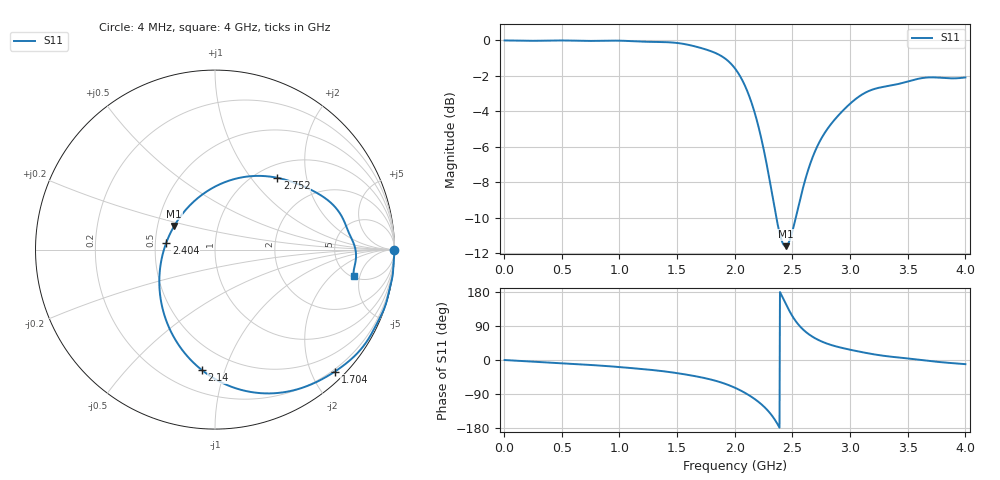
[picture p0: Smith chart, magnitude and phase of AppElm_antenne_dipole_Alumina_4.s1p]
! TOUCHSTONE file generated by CST MICROWAVE STUDIO
! Date and time: Sat May 14 10:02:56 2022
! Project name: AppElm_antenne_dipole_Alumina.cst
! Parameters = {L=33; e=0.035; f=2.45e+09; h=1.6; i=0.72; l1=2; lambda=122.449; ls=30; wl=1.7; ws=80}
! Header version: 2018
! Port assignment regex: !\s*Touchstone port\s*([0-9]+)\s*=\s*(CST MWS port|CST DS port)\s*([0-9]+|Zmin|Zmax)\s*\(\"(.*)\"\)(\s*mode\s*([0-9]+))?.*
! Touchstone port assignment:
! Touchstone port 1 = CST MWS port 1 ("")
# GHz S MA R 50
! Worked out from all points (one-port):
!   1000 points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, 4 MHz to 4 GHz, reference 50 ohm
!   lowest |S11| = -11.6 dB at 2.44 GHz (marker M1), VSWR 1.71, Z = 30.6 + j8.66 ohm
!   |S11| at or under -10 dB: 2.361 GHz to 2.529 GHz (168.5 MHz wide, 6.89 % of centre)
!   S11 on the Smith chart (normalised r, x): 4 MHz: open; 1.704 GHz: 0.16, -2.38; 2.14 GHz: 0.34, -0.84; 2.404 GHz: 0.57, +0.05; 2.752 GHz: 1.23, +1.37; 4 GHz: 5.13, -4.02
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0.004  1 -0.1
0.504  1 -8.5
1.004  0.9985 -18.7
1.324  0.9902 -27.7
1.504  0.9835 -34.8
1.704  0.9528 -45.5
1.788  0.934 -51.2
1.864  0.9113 -57.5
1.932  0.881 -64.5
2.004  0.832 -73.6
2.072  0.7648 -83.9
2.14  0.6755 -96.2
2.216  0.5534 -113.1
2.28  0.4415 -131.3
2.34  0.3441 -154.2
2.404  0.2744 172.1
2.44  0.2628 149.8
2.504  0.2929 113.7
2.56  0.3489 90.6
2.616  0.41 74.1
2.676  0.4691 61.1
2.752  0.5298 49.0
2.86  0.5946 37.4
3.004  0.6648 26.9
3.2  0.7279 15.3
3.504  0.7667 4.0
3.676  0.7863 -2.1
4  0.7864 -11.0
